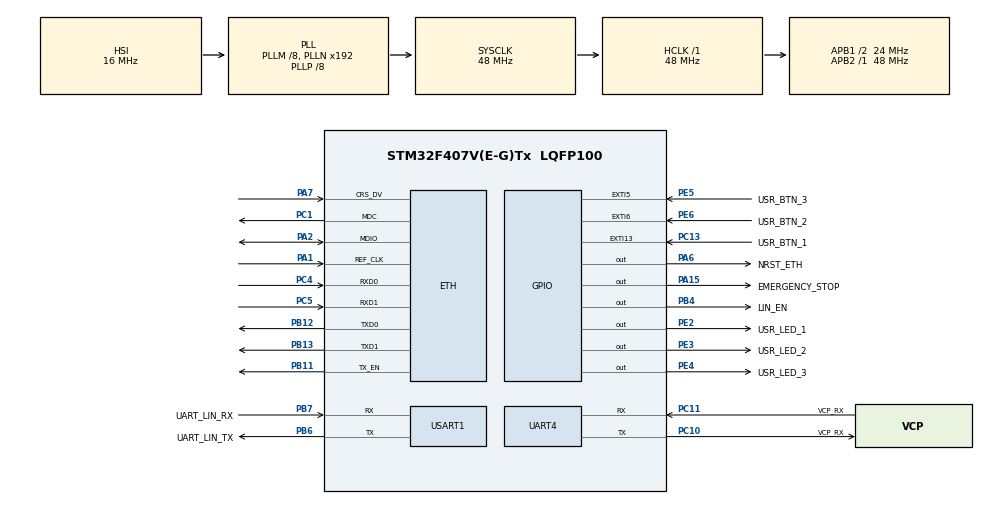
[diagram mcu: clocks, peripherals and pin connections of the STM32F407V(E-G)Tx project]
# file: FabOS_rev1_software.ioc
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ETH.MediaInterface=HAL_ETH_RMII_MODE
Mcu.Family=STM32F4
Mcu.Name=STM32F407V(E-G)Tx
Mcu.Package=LQFP100
NVIC.PriorityGroup=NVIC_PRIORITYGROUP_4
NVIC.TIM6_DAC_IRQn=true\:15\:0\:false\:false\:true\:false\:true\:true
NVIC.TimeBase=TIM6_DAC_IRQn
NVIC.TimeBaseIP=TIM6
PA1.Mode=RMII
PA1.Signal=ETH_REF_CLK
PA13.Mode=Serial_Wire
PA13.Signal=SYS_JTMS-SWDIO
PA14.Mode=Serial_Wire
PA14.Signal=SYS_JTCK-SWCLK
PA15.GPIO_Label=EMERGENCY_STOP
PA15.Signal=GPIO_Output
PA2.Mode=RMII
PA2.Signal=ETH_MDIO
PA6.GPIO_Label=NRST_ETH
PA6.Signal=GPIO_Output
PA7.Mode=RMII
PA7.Signal=ETH_CRS_DV
PB11.Mode=RMII
PB11.Signal=ETH_TX_EN
PB12.Mode=RMII
PB12.Signal=ETH_TXD0
PB13.Mode=RMII
PB13.Signal=ETH_TXD1
PB4.GPIO_Label=LIN_EN
PB4.Signal=GPIO_Output
PB6.GPIO_Label=UART_LIN_TX
PB6.Mode=Asynchronous
PB6.Signal=USART1_TX
PB7.GPIO_Label=UART_LIN_RX
PB7.Mode=Asynchronous
PB7.Signal=USART1_RX
PC1.Mode=RMII
PC1.Signal=ETH_MDC
PC10.GPIO_Label=VCP_RX
PC10.Mode=Asynchronous
PC10.Signal=UART4_TX
PC11.GPIO_Label=VCP_RX
PC11.Mode=Asynchronous
PC11.Signal=UART4_RX
PC13-ANTI_TAMP.GPIO_Label=USR_BTN_1
PC13-ANTI_TAMP.Signal=GPXTI13
PC4.Mode=RMII
PC4.Signal=ETH_RXD0
PC5.Mode=RMII
PC5.Signal=ETH_RXD1
PE2.GPIO_Label=USR_LED_1
PE2.Signal=GPIO_Output
PE3.GPIO_Label=USR_LED_2
PE3.Signal=GPIO_Output
PE4.GPIO_Label=USR_LED_3
PE4.Signal=GPIO_Output
PE5.GPIO_Label=USR_BTN_3
PE5.Signal=GPXTI5
PE6.GPIO_Label=USR_BTN_2
PE6.Signal=GPXTI6
PH0-OSC_IN.Mode=HSE-External-Oscillator
PH0-OSC_IN.Signal=RCC_OSC_IN
PH1-OSC_OUT.Mode=HSE-External-Oscillator
PH1-OSC_OUT.Signal=RCC_OSC_OUT
ProjectManager.HeapSize=0x200
ProjectManager.StackSize=0x400
ProjectManager.TargetToolchain=STM32CubeIDE
RCC.48MHZClocksFreq_Value=48000000
RCC.AHBFreq_Value=48000000
RCC.APB1CLKDivider=RCC_HCLK_DIV2
RCC.APB1Freq_Value=24000000
RCC.APB1TimFreq_Value=48000000
RCC.APB2Freq_Value=48000000
RCC.APB2TimFreq_Value=48000000
RCC.CortexFreq_Value=48000000
RCC.HCLKFreq_Value=48000000
RCC.HSE_VALUE=25000000
RCC.HSI_VALUE=16000000
RCC.LSE_VALUE=32768
RCC.PLLM=8
RCC.PLLP=RCC_PLLP_DIV8
RCC.PLLQ=8
RCC.PWREXT_OverDrive=PWREXT_OverDrive_ACTIVATED
RCC.SYSCLKFreq_VALUE=48000000
RCC.SYSCLKSource=RCC_SYSCLKSOURCE_PLLCLK
RCC.VCOOutputFreq_Value=384000000
UART4.VirtualMode=Asynchronous
USART1.VirtualMode=VM_ASYNC
VP_SYS_VS_tim6.Mode=TIM6
board=custom

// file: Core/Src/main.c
/* USER CODE BEGIN Header */
/**
  ******************************************************************************
  * @file           : main.c
  * @brief          : Main program body
  ******************************************************************************
  * @attention
  *
  * Copyright (c) 2024 STMicroelectronics.
  * All rights reserved.
  *
  * This software is licensed under terms that can be found in the LICENSE file
  * in the root directory of this software component.
  * If no LICENSE file comes with this software, it is provided AS-IS.
  *
  ******************************************************************************
  */
/* USER CODE END Header */
#include "main.h"
#include "eth.h"
#include "usart.h"
#include "gpio.h"

void SystemClock_Config(void);

int main(void)
{

  /* MCU Configuration--------------------------------------------------------*/

  /* Reset of all peripherals, Initializes the Flash interface and the Systick. */
  HAL_Init();

  /* Configure the system clock */
  SystemClock_Config();

  /* Initialize all configured peripherals */
  MX_GPIO_Init();
  MX_ETH_Init();
  MX_UART4_Init();
  MX_USART1_UART_Init();

  /* Infinite loop */
  /* USER CODE BEGIN WHILE */
  while (1)
  {
	  HAL_GPIO_WritePin(USR_LED_1_GPIO_Port, USR_LED_1_Pin, SET);
	  HAL_GPIO_WritePin(USR_LED_2_GPIO_Port, USR_LED_2_Pin, RESET);
	  HAL_GPIO_WritePin(USR_LED_3_GPIO_Port, USR_LED_3_Pin, RESET);
	  HAL_Delay(200);
	  HAL_GPIO_WritePin(USR_LED_1_GPIO_Port, USR_LED_1_Pin, RESET);
	  HAL_GPIO_WritePin(USR_LED_2_GPIO_Port, USR_LED_2_Pin, SET);
	  HAL_GPIO_WritePin(USR_LED_3_GPIO_Port, USR_LED_3_Pin, RESET);
	  HAL_Delay(200);
	  HAL_GPIO_WritePin(USR_LED_1_GPIO_Port, USR_LED_1_Pin, RESET);
	  HAL_GPIO_WritePin(USR_LED_2_GPIO_Port, USR_LED_2_Pin, RESET);
	  HAL_GPIO_WritePin(USR_LED_3_GPIO_Port, USR_LED_3_Pin, SET);
	  HAL_Delay(200);
	  HAL_GPIO_WritePin(USR_LED_1_GPIO_Port, USR_LED_1_Pin, RESET);
	  HAL_GPIO_WritePin(USR_LED_2_GPIO_Port, USR_LED_2_Pin, SET);
	  HAL_GPIO_WritePin(USR_LED_3_GPIO_Port, USR_LED_3_Pin, SET);
	  HAL_Delay(200);
    /* USER CODE END WHILE */

  }
}

void SystemClock_Config(void)
{
  RCC_OscInitTypeDef RCC_OscInitStruct = {0};
  RCC_ClkInitTypeDef RCC_ClkInitStruct = {0};

  /** Configure the main internal regulator output voltage
  */
  __HAL_RCC_PWR_CLK_ENABLE();
  __HAL_PWR_VOLTAGESCALING_CONFIG(PWR_REGULATOR_VOLTAGE_SCALE1);

  /** Initializes the RCC Oscillators according to the specified parameters
  * in the RCC_OscInitTypeDef structure.
  */
  RCC_OscInitStruct.OscillatorType = RCC_OSCILLATORTYPE_HSI;
  RCC_OscInitStruct.HSIState = RCC_HSI_ON;
  RCC_OscInitStruct.HSICalibrationValue = RCC_HSICALIBRATION_DEFAULT;
  RCC_OscInitStruct.PLL.PLLState = RCC_PLL_ON;
  RCC_OscInitStruct.PLL.PLLSource = RCC_PLLSOURCE_HSI;
  RCC_OscInitStruct.PLL.PLLM = 8;
  RCC_OscInitStruct.PLL.PLLN = 192;
  RCC_OscInitStruct.PLL.PLLP = RCC_PLLP_DIV8;
  RCC_OscInitStruct.PLL.PLLQ = 8;
  if (HAL_RCC_OscConfig(&RCC_OscInitStruct) != HAL_OK)
  {
    Error_Handler();
  }

  /** Activate the Over-Drive mode
  */
//  if (HAL_PWREx_EnableOverDrive() != HAL_OK)
//  {
//    Error_Handler();
//  }

  /** Initializes the CPU, AHB and APB buses clocks
  */
  RCC_ClkInitStruct.ClockType = RCC_CLOCKTYPE_HCLK|RCC_CLOCKTYPE_SYSCLK
                              |RCC_CLOCKTYPE_PCLK1|RCC_CLOCKTYPE_PCLK2;
  RCC_ClkInitStruct.SYSCLKSource = RCC_SYSCLKSOURCE_PLLCLK;
  RCC_ClkInitStruct.AHBCLKDivider = RCC_SYSCLK_DIV1;
  RCC_ClkInitStruct.APB1CLKDivider = RCC_HCLK_DIV2;
  RCC_ClkInitStruct.APB2CLKDivider = RCC_HCLK_DIV1;

  if (HAL_RCC_ClockConfig(&RCC_ClkInitStruct, FLASH_LATENCY_1) != HAL_OK)
  {
    Error_Handler();
  }
}

void HAL_TIM_PeriodElapsedCallback(TIM_HandleTypeDef *htim)
{
  if (htim->Instance == TIM6) {
    HAL_IncTick();
  }
}

void Error_Handler(void)
{
  __disable_irq();
  while (1)
  {
  }
}
